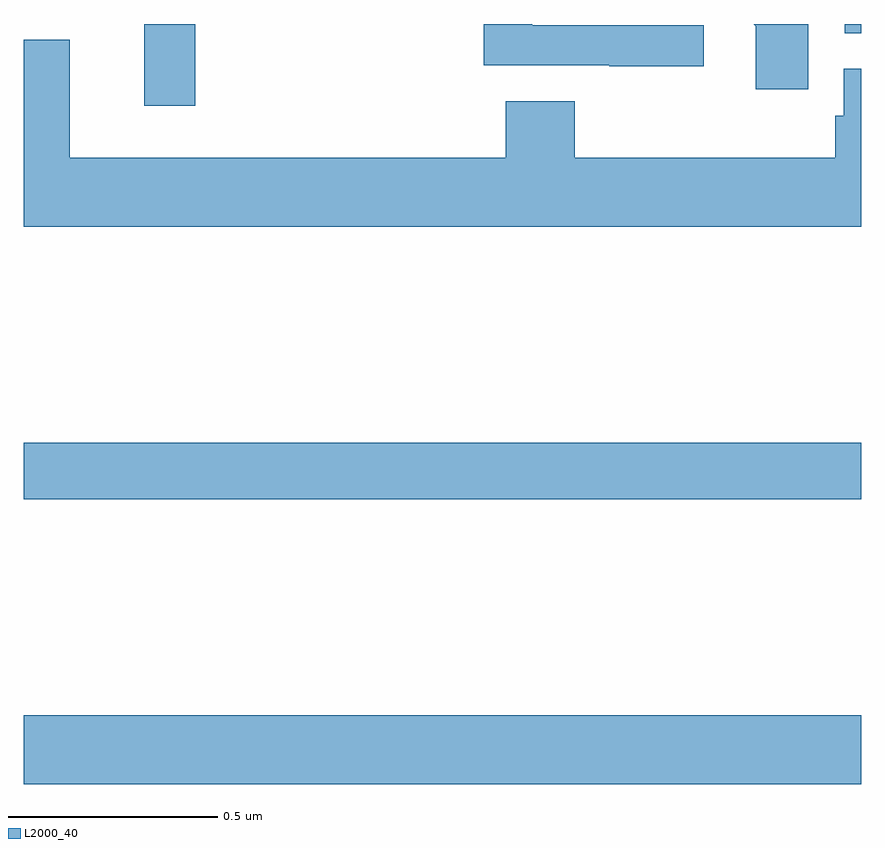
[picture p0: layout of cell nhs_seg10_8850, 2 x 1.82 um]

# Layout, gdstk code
import gdstk
lib = gdstk.Library(unit=1e-6, precision=1e-09)
def R(c, l, rs):  # rectangles x0, y0, x1, y1
    for r in rs: c.add(gdstk.rectangle(r[:2], r[2:], *l))
def P(c, l, *ps):  # polygons
    for p in ps: c.add(gdstk.Polygon(p, *l))
L2000_40 = (2000, 40)

nhs_seg10_8850 = lib.new_cell('nhs_seg10_8850')
R(nhs_seg10_8850, L2000_40, [(222,1265.684,224,1265.848), (222,1266.364,224,1266.5), (222.287,1267.305,222.409,1267.5), (223.961,1267.478,224,1267.5)])
P(nhs_seg10_8850, L2000_40, [(223.874,1267.5),(223.744,1267.5),(223.749,1267.495),(223.749,1267.344),(223.874,1267.344)],
  [(223.624,1267.497),(223.215,1267.497),(223.215,1267.5),(223.099,1267.5),(223.099,1267.401),(223.399,1267.401),(223.399,1267.399),(223.624,1267.399)],
  [(224,1267.393),(223.959,1267.393),(223.959,1267.281),(223.939,1267.281),(223.939,1267.18),(223.316,1267.18),(223.316,1267.316),(223.151,1267.316),(223.151,1267.18),(222.109,1267.18),(222.109,1267.462),(222,1267.462),(222,1267.016),(224,1267.016)])

lib.write_gds('nhs_seg10_8850.gds')
